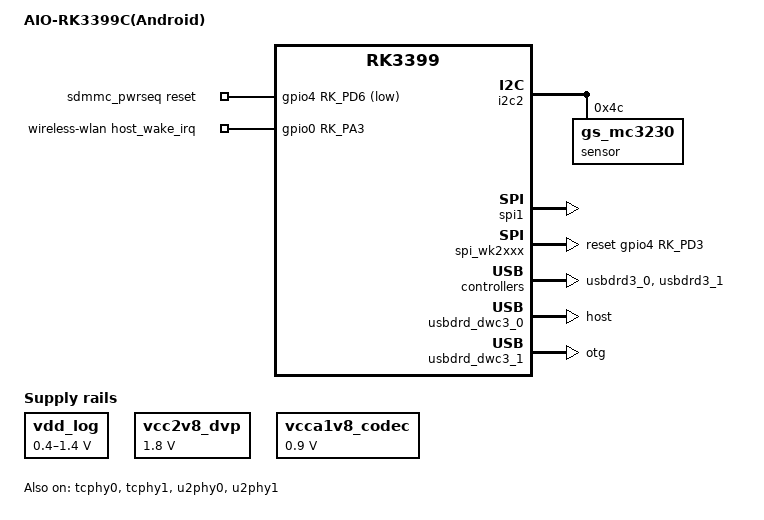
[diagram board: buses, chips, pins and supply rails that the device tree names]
/*
 * Copyright (c) 2016 Fuzhou Rockchip Electronics Co., Ltd
 *
 * This file is dual-licensed: you can use it either under the terms
 * of the GPL or the X11 license, at your option. Note that this dual
 * licensing only applies to this file, and not this project as a
 * whole.
 *
 *  a) This file is free software; you can redistribute it and/or
 *     modify it under the terms of the GNU General Public License as
 *     published by the Free Software Foundation; either version 2 of the
 *     License, or (at your option) any later version.
 *
 *     This file is distributed in the hope that it will be useful,
 *     but WITHOUT ANY WARRANTY; without even the implied warranty of
 *     MERCHANTABILITY or FITNESS FOR A PARTICULAR PURPOSE.  See the
 *     GNU General Public License for more details.
 *
 * Or, alternatively,
 *
 *  b) Permission is hereby granted, free of charge, to any person
 *     obtaining a copy of this software and associated documentation
 *     files (the "Software"), to deal in the Software without
 *     restriction, including without limitation the rights to use,
 *     copy, modify, merge, publish, distribute, sublicense, and/or
 *     sell copies of the Software, and to permit persons to whom the
 *     Software is furnished to do so, subject to the following
 *     conditions:
 *
 *     The above copyright notice and this permission notice shall be
 *     included in all copies or substantial portions of the Software.
 *
 *     THE SOFTWARE IS PROVIDED "AS IS", WITHOUT WARRANTY OF ANY KIND,
 *     EXPRESS OR IMPLIED, INCLUDING BUT NOT LIMITED TO THE WARRANTIES
 *     OF MERCHANTABILITY, FITNESS FOR A PARTICULAR PURPOSE AND
 *     NONINFRINGEMENT. IN NO EVENT SHALL THE AUTHORS OR COPYRIGHT
 *     HOLDERS BE LIABLE FOR ANY CLAIM, DAMAGES OR OTHER LIABILITY,
 *     WHETHER IN AN ACTION OF CONTRACT, TORT OR OTHERWISE, ARISING
 *     FROM, OUT OF OR IN CONNECTION WITH THE SOFTWARE OR THE USE OR
 *     OTHER DEALINGS IN THE SOFTWARE.
 */


#include "rk3399-firefly-port.dtsi" 	
#include <dt-bindings/sensor-dev.h>
/ {
	model = "AIO-RK3399C(Android)";
	compatible = "rockchip,android", "rockchip,rk3399-firefly-aioc-ai", "rockchip,rk3399";

	test-power {
		status = "okay";
	};

    sdmmc_pwrseq: sdmmc-pwrseq {
        compatible = "mmc-pwrseq-simple";
        clocks = <&rk808 1>;
        clock-names = "ext_clock";
        pinctrl-names = "default";
        pinctrl-0 = <&sdcard_enable_h>;
        /*
         * On the module itself this is one of these (depending
         * on the actual card populated):
         * - SDIO_RESET_L_WL_REG_ON
         * - PDN (power down when low)
         */
        reset-gpios = <&gpio4 RK_PD6 GPIO_ACTIVE_LOW>; /* GPIO4_D6 */
    };
    wireless-wlan {
        compatible = "wlan-platdata";
        rockchip,grf = <&grf>;
        wifi_chip_type = "ap6255";
        sdio_vref = <1800>;
        WIFI,host_wake_irq = <&gpio0 RK_PA3 GPIO_ACTIVE_HIGH>; /* GPIO0_a3 */
        status = "okay";
    };
};

&vdd_log {
    regulator-min-microvolt = <400000>;
    regulator-max-microvolt = <1400000>;
    rockchip,pwm_voltage = <1000000>;
};

&sdmmc {
    mmc-pwrseq = <&sdmmc_pwrseq>;
    sd-uhs-sdr104;
};

&dmc {
    status = "disabled";
};


&i2c2 {
    status = "okay";
    i2c-scl-rising-time-ns = <300>;
    i2c-scl-falling-time-ns = <15>;

    sensor@4c {
        status = "okay";
        compatible = "gs_mc3230";
        reg = <0x4c>;
        type = <SENSOR_TYPE_ACCEL>;
        irq_enable = <0>;
        poll_delay_ms = <30>;
        layout = <1>;
    };
};

&io_domains {
	bt656-supply = <&vcc_3v0>;
};

&vcc2v8_dvp {
	regulator-min-microvolt = <1800000>;
	regulator-max-microvolt = <1800000>;
};

&vcc_sd {
	regulator-max-microvolt = <3000000>;
	regulator-state-mem {
		regulator-suspend-microvolt = <3000000>;
	};
};

&vcca1v8_codec {
	regulator-min-microvolt = <900000>;
	regulator-max-microvolt = <900000>;
};

&pinctrl {
    pinctrl-names = "default";
    pinctrl-0 = <&host_hub_vcc>;

    host-hub-vcc {
        host_hub_vcc: host-hub-vcc {
        rockchip,pins = <1 23 RK_FUNC_GPIO &pcfg_output_high>,
                        <2 4 RK_FUNC_GPIO &pcfg_output_high>,
                        <1 2 RK_FUNC_GPIO &pcfg_output_high>,
                        <4 29 RK_FUNC_GPIO &pcfg_output_high>;
        };
    };

    sdmmc-pwrseq {
        sdcard_enable_h: sdcard-enable-h {
        rockchip,pins = <4 30 RK_FUNC_GPIO &pcfg_pull_none>;
        };
    };
};

&uart4 {
    status = "disabled";
};
&spi1 {
	status = "okay";
};

&spi_wk2xxx {
    status = "okay";
    reset-gpio = <&gpio4 RK_PD3 GPIO_ACTIVE_HIGH>;
    irq-gpio = <&gpio4 RK_PD2 IRQ_TYPE_EDGE_FALLING>;
    cs-gpio = <&gpio1 RK_PB2 GPIO_ACTIVE_HIGH>;
};

&vcc3v3_3g {
    gpio = <&gpio2 RK_PA6 GPIO_ACTIVE_HIGH>;
};
/*
&pcie_3g_drv {
    rockchip,pins = <2 6 RK_FUNC_GPIO &pcfg_pull_up>;
};
*/
&gmac {
    tx_delay = <0x2F>;
    rx_delay = <0x26>;
};

&rt5640 {
    hp-con-gpio = <&gpio1 RK_PC6 GPIO_ACTIVE_HIGH>;
    hp-det-gpio = <&gpio2 RK_PA2 GPIO_ACTIVE_HIGH>;  /* GPIO4_D5 */
    io-channels = <0>;
    linein-mute = <1>;
};


&spidev0 {
	status = "disabled";
};

&fusb0 {
    status = "disabled";
};

&cdn_dp {
    status = "disabled";
};

&tcphy0 {
    /delete-property/ extcon;
    status = "okay";
};

&tcphy1 {
    /delete-property/ extcon;
    status = "okay";
};

&u2phy0 {
    status = "okay";
    /delete-property/ extcon;

    u2phy0_otg: otg-port {
        rockchip,vbus-always-on;
        vbus-5v-gpios = <&gpio1 RK_PA3 GPIO_ACTIVE_HIGH>;
        status = "okay";
    };
};

&u2phy1 {
    status = "okay";
    /delete-property/ extcon;

    u2phy1_otg: otg-port {
        rockchip,vbus-always-on;
        status = "okay";
    };
};

&usbdrd3_0 {
    status = "okay";
    /delete-property/ extcon;
};

&usbdrd_dwc3_0 {
    dr_mode = "host";
};

&usbdrd3_1 {
    status = "okay";
    /delete-property/ extcon;
};

&usbdrd_dwc3_1 {
    dr_mode = "otg";
};
